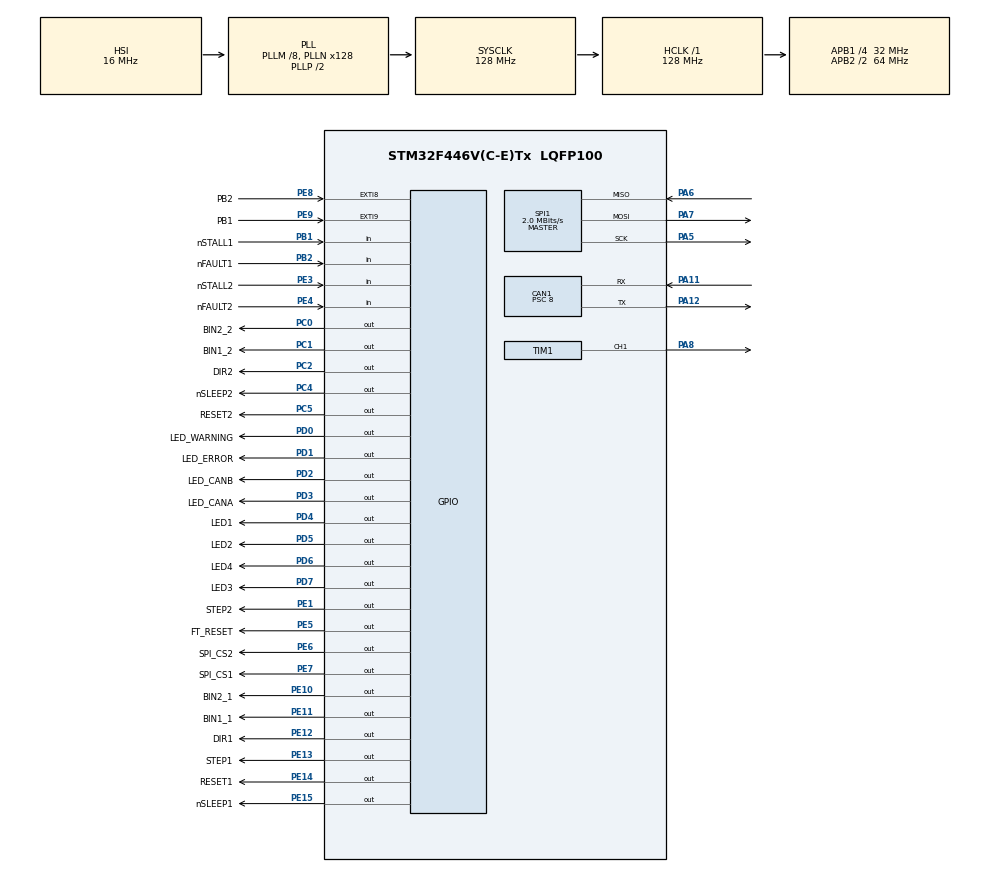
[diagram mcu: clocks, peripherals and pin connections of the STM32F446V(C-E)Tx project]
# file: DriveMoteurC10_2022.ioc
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CAN1.ABOM=DISABLE
CAN1.AWUM=DISABLE
CAN1.BS1=CAN_BS1_11TQ
CAN1.BS2=CAN_BS2_4TQ
CAN1.CalculateBaudRate=250000
CAN1.CalculateTimeBit=4000
CAN1.CalculateTimeQuantum=250.0
CAN1.Mode=CAN_MODE_NORMAL
CAN1.NART=DISABLE
CAN1.Prescaler=8
CAN1.SJW=CAN_SJW_3TQ
CAN1.TXFP=DISABLE
Mcu.Family=STM32F4
Mcu.Name=STM32F446V(C-E)Tx
Mcu.Package=LQFP100
NVIC.CAN1_RX0_IRQn=true\:1\:0\:true\:false\:true\:true\:true\:true
NVIC.CAN1_RX1_IRQn=true\:1\:0\:true\:false\:true\:true\:true\:true
NVIC.EXTI9_5_IRQn=true\:1\:0\:true\:false\:true\:true\:true\:true
NVIC.PriorityGroup=NVIC_PRIORITYGROUP_4
NVIC.TIM2_IRQn=true\:0\:0\:false\:false\:true\:true\:true\:true
NVIC.TIM3_IRQn=true\:0\:0\:false\:false\:true\:true\:true\:true
PA0-WKUP.Signal=EVENTOUT
PA11.Mode=CAN_Activate
PA11.Signal=CAN1_RX
PA12.Mode=CAN_Activate
PA12.Signal=CAN1_TX
PA13.Signal=SYS_JTMS-SWDIO
PA14.Signal=SYS_JTCK-SWCLK
PA5.Mode=Full_Duplex_Master
PA5.Signal=SPI1_SCK
PA6.GPIO_Mode=GPIO_MODE_AF_PP
PA6.GPIO_PuPd=GPIO_PULLUP
PA6.Mode=Full_Duplex_Master
PA6.Signal=SPI1_MISO
PA7.Mode=Full_Duplex_Master
PA7.Signal=SPI1_MOSI
PA8.Signal=S_TIM1_CH1
PB1.GPIO_Label=nSTALL1
PB1.GPIO_PuPd=GPIO_PULLUP
PB1.Signal=GPIO_Input
PB10.Signal=S_TIM2_CH3
PB2.GPIO_Label=nFAULT1
PB2.GPIO_PuPd=GPIO_PULLUP
PB2.Signal=GPIO_Input
PB3.Signal=SYS_JTDO-SWO
PC0.GPIO_Label=BIN2_2
PC0.Signal=GPIO_Output
PC1.GPIO_Label=BIN1_2
PC1.Signal=GPIO_Output
PC2.GPIO_Label=DIR2
PC2.Signal=GPIO_Output
PC4.GPIO_Label=nSLEEP2
PC4.Signal=GPIO_Output
PC5.GPIO_Label=RESET2
PC5.Signal=GPIO_Output
PD0.GPIO_Label=LED_WARNING
PD0.Signal=GPIO_Output
PD1.GPIO_Label=LED_ERROR
PD1.Signal=GPIO_Output
PD2.GPIO_Label=LED_CANB
PD2.Signal=GPIO_Output
PD3.GPIO_Label=LED_CANA
PD3.Signal=GPIO_Output
PD4.GPIO_Label=LED1
PD4.Signal=GPIO_Output
PD5.GPIO_Label=LED2
PD5.Signal=GPIO_Output
PD6.GPIO_Label=LED4
PD6.Signal=GPIO_Output
PD7.GPIO_Label=LED3
PD7.Signal=GPIO_Output
PE1.GPIO_Label=STEP2
PE1.Signal=GPIO_Output
PE10.GPIO_Label=BIN2_1
PE10.Signal=GPIO_Output
PE11.GPIO_Label=BIN1_1
PE11.Signal=GPIO_Output
PE12.GPIO_Label=DIR1
PE12.Signal=GPIO_Output
PE13.GPIO_Label=STEP1
PE13.Signal=GPIO_Output
PE14.GPIO_Label=RESET1
PE14.Signal=GPIO_Output
PE15.GPIO_Label=nSLEEP1
PE15.Signal=GPIO_Output
PE3.GPIO_Label=nSTALL2
PE3.Signal=GPIO_Input
PE4.GPIO_Label=nFAULT2
PE4.Signal=GPIO_Input
PE5.GPIO_Label=FT_RESET
PE5.Signal=GPIO_Output
PE6.GPIO_Label=SPI_CS2
PE6.GPIO_PuPd=GPIO_PULLDOWN
PE6.GPIO_Speed=GPIO_SPEED_FREQ_VERY_HIGH
PE6.Signal=GPIO_Output
PE7.GPIO_Label=SPI_CS1
PE7.GPIO_PuPd=GPIO_PULLDOWN
PE7.GPIO_Speed=GPIO_SPEED_FREQ_VERY_HIGH
PE7.Signal=GPIO_Output
PE8.GPIO_Label=PB2
PE8.GPIO_ModeDefaultEXTI=GPIO_MODE_IT_RISING_FALLING
PE8.Signal=GPXTI8
PE9.GPIO_Label=PB1
PE9.GPIO_ModeDefaultEXTI=GPIO_MODE_IT_RISING_FALLING
PE9.Signal=GPXTI9
ProjectManager.HeapSize=0x200
ProjectManager.StackSize=0x400
ProjectManager.TargetToolchain=STM32CubeIDE
RCC.AHBFreq_Value=128000000
RCC.APB1CLKDivider=RCC_HCLK_DIV4
RCC.APB1Freq_Value=32000000
RCC.APB1TimFreq_Value=64000000
RCC.APB2CLKDivider=RCC_HCLK_DIV2
RCC.APB2Freq_Value=64000000
RCC.APB2TimFreq_Value=128000000
RCC.CortexFreq_Value=128000000
RCC.HCLKFreq_Value=128000000
RCC.PLLM=8
RCC.PLLN=128
RCC.SYSCLKFreq_VALUE=128000000
RCC.SYSCLKSource=RCC_SYSCLKSOURCE_PLLCLK
RCC.USBFreq_Value=128000000
RCC.VCOOutputFreq_Value=256000000
SH.S_TIM1_CH1.0=TIM1_CH1,Output Compare1 CH1
SH.S_TIM2_CH3.0=TIM2_CH3
SPI1.BaudRatePrescaler=SPI_BAUDRATEPRESCALER_32
SPI1.CLKPhase=SPI_PHASE_1EDGE
SPI1.CLKPolarity=SPI_POLARITY_LOW
SPI1.CalculateBaudRate=2.0 MBits/s
SPI1.DataSize=SPI_DATASIZE_8BIT
SPI1.Direction=SPI_DIRECTION_2LINES
SPI1.Mode=SPI_MODE_MASTER
SPI1.VirtualType=VM_MASTER
TIM1.Channel-Output\ Compare1\ CH1=TIM_CHANNEL_1
TIM1.Prescaler=127
TIM2.Period=600
TIM2.Prescaler=63
TIM3.Period=999
TIM3.Prescaler=63
VP_TIM2_VS_ClockSourceINT.Mode=Internal
VP_TIM3_VS_ClockSourceINT.Mode=Internal
board=custom

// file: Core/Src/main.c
/* USER CODE BEGIN Header */
/**
 ******************************************************************************
 * @file           : main.c
 * @brief          : Main program body
 ******************************************************************************
 * @attention
 *
 * Copyright (c) 2022 STMicroelectronics.
 * All rights reserved.
 *
 * This software is licensed under terms that can be found in the LICENSE file
 * in the root directory of this software component.
 * If no LICENSE file comes with this software, it is provided AS-IS.
 *
 ******************************************************************************
 */
/* USER CODE END Header */
#include "main.h"

/* USER CODE BEGIN Includes */

#include "chinook_can_ids.h"
#include "state_machine.h"
#include "can.h"

/* USER CODE END Includes */

CAN_HandleTypeDef hcan1;

SPI_HandleTypeDef hspi1;

TIM_HandleTypeDef htim1;
TIM_HandleTypeDef htim2;
TIM_HandleTypeDef htim3;

void SystemClock_Config(void);
static void MX_GPIO_Init(void);
static void MX_CAN1_Init(void);
static void MX_SPI1_Init(void);
static void MX_TIM3_Init(void);
static void MX_TIM2_Init(void);
static void MX_TIM1_Init(void);

int main(void)
{

  /* MCU Configuration--------------------------------------------------------*/

  /* Reset of all peripherals, Initializes the Flash interface and the Systick. */
  HAL_Init();

  /* Configure the system clock */
  SystemClock_Config();

  /* Initialize all configured peripherals */
  MX_GPIO_Init();
  MX_CAN1_Init();
  MX_SPI1_Init();
  MX_TIM3_Init();
  MX_TIM2_Init();
  MX_TIM1_Init();

  /* Infinite loop */
  /* USER CODE BEGIN WHILE */
	while (1) {
		ExecuteStateMachine();
	}
    /* USER CODE END WHILE */

}

void SystemClock_Config(void)
{
  RCC_OscInitTypeDef RCC_OscInitStruct = {0};
  RCC_ClkInitTypeDef RCC_ClkInitStruct = {0};

  /** Configure the main internal regulator output voltage
  */
  __HAL_RCC_PWR_CLK_ENABLE();
  __HAL_PWR_VOLTAGESCALING_CONFIG(PWR_REGULATOR_VOLTAGE_SCALE2);

  /** Initializes the RCC Oscillators according to the specified parameters
  * in the RCC_OscInitTypeDef structure.
  */
  RCC_OscInitStruct.OscillatorType = RCC_OSCILLATORTYPE_HSI;
  RCC_OscInitStruct.HSIState = RCC_HSI_ON;
  RCC_OscInitStruct.HSICalibrationValue = RCC_HSICALIBRATION_DEFAULT;
  RCC_OscInitStruct.PLL.PLLState = RCC_PLL_ON;
  RCC_OscInitStruct.PLL.PLLSource = RCC_PLLSOURCE_HSI;
  RCC_OscInitStruct.PLL.PLLM = 8;
  RCC_OscInitStruct.PLL.PLLN = 128;
  RCC_OscInitStruct.PLL.PLLP = RCC_PLLP_DIV2;
  RCC_OscInitStruct.PLL.PLLQ = 2;
  RCC_OscInitStruct.PLL.PLLR = 2;
  if (HAL_RCC_OscConfig(&RCC_OscInitStruct) != HAL_OK)
  {
    Error_Handler();
  }

  /** Initializes the CPU, AHB and APB buses clocks
  */
  RCC_ClkInitStruct.ClockType = RCC_CLOCKTYPE_HCLK|RCC_CLOCKTYPE_SYSCLK
                              |RCC_CLOCKTYPE_PCLK1|RCC_CLOCKTYPE_PCLK2;
  RCC_ClkInitStruct.SYSCLKSource = RCC_SYSCLKSOURCE_PLLCLK;
  RCC_ClkInitStruct.AHBCLKDivider = RCC_SYSCLK_DIV1;
  RCC_ClkInitStruct.APB1CLKDivider = RCC_HCLK_DIV4;
  RCC_ClkInitStruct.APB2CLKDivider = RCC_HCLK_DIV2;

  if (HAL_RCC_ClockConfig(&RCC_ClkInitStruct, FLASH_LATENCY_4) != HAL_OK)
  {
    Error_Handler();
  }
}

static void MX_CAN1_Init(void)
{

  hcan1.Instance = CAN1;
  hcan1.Init.Prescaler = 8;
  hcan1.Init.Mode = CAN_MODE_NORMAL;
  hcan1.Init.SyncJumpWidth = CAN_SJW_3TQ;
  hcan1.Init.TimeSeg1 = CAN_BS1_11TQ;
  hcan1.Init.TimeSeg2 = CAN_BS2_4TQ;
  hcan1.Init.TimeTriggeredMode = DISABLE;
  hcan1.Init.AutoBusOff = DISABLE;
  hcan1.Init.AutoWakeUp = DISABLE;
  hcan1.Init.AutoRetransmission = DISABLE;
  hcan1.Init.ReceiveFifoLocked = DISABLE;
  hcan1.Init.TransmitFifoPriority = DISABLE;
  if (HAL_CAN_Init(&hcan1) != HAL_OK)
  {
    Error_Handler();
  }
  /* USER CODE BEGIN CAN1_Init 2 */

	CAN_FilterTypeDef sf_fifo0;
	// All common bits go into the ID register
	sf_fifo0.FilterIdHigh = DRIVEMOTOR_FIFO0_RX_FILTER_ID_HIGH;
	sf_fifo0.FilterIdLow = DRIVEMOTOR_FIFO0_RX_FILTER_ID_LOW;

	// Which bits to compare for filter
	sf_fifo0.FilterMaskIdHigh = 0x0000;
	sf_fifo0.FilterMaskIdLow = (FIFO0_RX_FILTER_MASK_LOW & 0x07FF);

	sf_fifo0.FilterFIFOAssignment = CAN_FILTER_FIFO0;
	sf_fifo0.FilterBank = 0; // Which filter to use from the assigned ones
	sf_fifo0.FilterMode = CAN_FILTERMODE_IDMASK;
	sf_fifo0.FilterScale = CAN_FILTERSCALE_32BIT;
	sf_fifo0.FilterActivation = CAN_FILTER_ENABLE;
	sf_fifo0.SlaveStartFilterBank = 14; // How many filters to assign to CAN1
	if (HAL_CAN_ConfigFilter(&hcan1, &sf_fifo0) != HAL_OK)
	{
	  Error_Handler();
	}

	CAN_FilterTypeDef sf_fifo1;
	// All common bits go into the ID register
	//sf_fifo1.FilterIdHigh = 0x0000;
	//sf_fifo1.FilterIdLow = 0x0000;
	//sf_fifo1.FilterMaskIdHigh = 0x0000;
	//sf_fifo1.FilterMaskIdLow = 0x0000;
	sf_fifo1.FilterIdHigh = DRIVEMOTOR_FIFO1_RX_FILTER_ID_HIGH;
	sf_fifo1.FilterIdLow = DRIVEMOTOR_FIFO1_RX_FILTER_ID_LOW;

	// Which bits to compare for filter
	sf_fifo1.FilterMaskIdHigh = 0x0000;
	sf_fifo1.FilterMaskIdLow = (FIFO1_RX_FILTER_MASK_LOW & 0x7FF);

	sf_fifo1.FilterFIFOAssignment = CAN_FILTER_FIFO1;
	sf_fifo1.FilterBank = 1; // Which filter to use from the assigned ones
	sf_fifo1.FilterMode = CAN_FILTERMODE_IDMASK;
	sf_fifo1.FilterScale = CAN_FILTERSCALE_32BIT;
	sf_fifo1.FilterActivation = CAN_FILTER_ENABLE;
	sf_fifo1.SlaveStartFilterBank = 14; // How many filters to assign to CAN1
	if (HAL_CAN_ConfigFilter(&hcan1, &sf_fifo1) != HAL_OK)
	{
	  Error_Handler();
	}

	//if (HAL_CAN_RegisterCallback(&hcan1, HAL_CAN_RX_FIFO0_MSG_PENDING_CB_ID, can_irq))
	//{
	//	  Error_Handler();
	//}
	if (HAL_CAN_Start(&hcan1) != HAL_OK)
	{
		Error_Handler();
	}
	if (HAL_CAN_ActivateNotification(&hcan1, CAN_IT_RX_FIFO0_MSG_PENDING | CAN_IT_RX_FIFO1_MSG_PENDING) != HAL_OK)
	{
		Error_Handler();
	}
	/*
	if (HAL_CAN_ActivateNotification(&hcan1,
			(CAN_IT_RX_FIFO0_MSG_PENDING | CAN_IT_RX_FIFO1_MSG_PENDING | CAN_IT_RX_FIFO0_FULL | CAN_IT_RX_FIFO0_OVERRUN |
			 CAN_IT_RX_FIFO1_FULL | CAN_IT_RX_FIFO1_OVERRUN)) != HAL_OK)
	{
		Error_Handler();
	}
	*/

  /* USER CODE END CAN1_Init 2 */

}

static void MX_SPI1_Init(void)
{

  /* SPI1 parameter configuration*/
  hspi1.Instance = SPI1;
  hspi1.Init.Mode = SPI_MODE_MASTER;
  hspi1.Init.Direction = SPI_DIRECTION_2LINES;
  hspi1.Init.DataSize = SPI_DATASIZE_8BIT;
  hspi1.Init.CLKPolarity = SPI_POLARITY_LOW;
  hspi1.Init.CLKPhase = SPI_PHASE_1EDGE;
  hspi1.Init.NSS = SPI_NSS_SOFT;
  hspi1.Init.BaudRatePrescaler = SPI_BAUDRATEPRESCALER_32;
  hspi1.Init.FirstBit = SPI_FIRSTBIT_MSB;
  hspi1.Init.TIMode = SPI_TIMODE_DISABLE;
  hspi1.Init.CRCCalculation = SPI_CRCCALCULATION_DISABLE;
  hspi1.Init.CRCPolynomial = 10;
  if (HAL_SPI_Init(&hspi1) != HAL_OK)
  {
    Error_Handler();
  }

}

static void MX_TIM1_Init(void)
{

  TIM_MasterConfigTypeDef sMasterConfig = {0};
  TIM_OC_InitTypeDef sConfigOC = {0};
  TIM_BreakDeadTimeConfigTypeDef sBreakDeadTimeConfig = {0};

  htim1.Instance = TIM1;
  htim1.Init.Prescaler = 127;
  htim1.Init.CounterMode = TIM_COUNTERMODE_UP;
  htim1.Init.Period = 65535;
  htim1.Init.ClockDivision = TIM_CLOCKDIVISION_DIV1;
  htim1.Init.RepetitionCounter = 0;
  htim1.Init.AutoReloadPreload = TIM_AUTORELOAD_PRELOAD_DISABLE;
  if (HAL_TIM_OC_Init(&htim1) != HAL_OK)
  {
    Error_Handler();
  }
  sMasterConfig.MasterOutputTrigger = TIM_TRGO_RESET;
  sMasterConfig.MasterSlaveMode = TIM_MASTERSLAVEMODE_DISABLE;
  if (HAL_TIMEx_MasterConfigSynchronization(&htim1, &sMasterConfig) != HAL_OK)
  {
    Error_Handler();
  }
  sConfigOC.OCMode = TIM_OCMODE_TIMING;
  sConfigOC.Pulse = 0;
  sConfigOC.OCPolarity = TIM_OCPOLARITY_HIGH;
  sConfigOC.OCNPolarity = TIM_OCNPOLARITY_HIGH;
  sConfigOC.OCFastMode = TIM_OCFAST_DISABLE;
  sConfigOC.OCIdleState = TIM_OCIDLESTATE_RESET;
  sConfigOC.OCNIdleState = TIM_OCNIDLESTATE_RESET;
  if (HAL_TIM_OC_ConfigChannel(&htim1, &sConfigOC, TIM_CHANNEL_1) != HAL_OK)
  {
    Error_Handler();
  }
  sBreakDeadTimeConfig.OffStateRunMode = TIM_OSSR_DISABLE;
  sBreakDeadTimeConfig.OffStateIDLEMode = TIM_OSSI_DISABLE;
  sBreakDeadTimeConfig.LockLevel = TIM_LOCKLEVEL_OFF;
  sBreakDeadTimeConfig.DeadTime = 0;
  sBreakDeadTimeConfig.BreakState = TIM_BREAK_DISABLE;
  sBreakDeadTimeConfig.BreakPolarity = TIM_BREAKPOLARITY_HIGH;
  sBreakDeadTimeConfig.AutomaticOutput = TIM_AUTOMATICOUTPUT_DISABLE;
  if (HAL_TIMEx_ConfigBreakDeadTime(&htim1, &sBreakDeadTimeConfig) != HAL_OK)
  {
    Error_Handler();
  }
  HAL_TIM_MspPostInit(&htim1);

}

static void MX_TIM2_Init(void)
{

  TIM_ClockConfigTypeDef sClockSourceConfig = {0};
  TIM_MasterConfigTypeDef sMasterConfig = {0};

  htim2.Instance = TIM2;
  htim2.Init.Prescaler = 63;
  htim2.Init.CounterMode = TIM_COUNTERMODE_UP;
  htim2.Init.Period = 600;
  htim2.Init.ClockDivision = TIM_CLOCKDIVISION_DIV1;
  htim2.Init.AutoReloadPreload = TIM_AUTORELOAD_PRELOAD_DISABLE;
  if (HAL_TIM_Base_Init(&htim2) != HAL_OK)
  {
    Error_Handler();
  }
  sClockSourceConfig.ClockSource = TIM_CLOCKSOURCE_INTERNAL;
  if (HAL_TIM_ConfigClockSource(&htim2, &sClockSourceConfig) != HAL_OK)
  {
    Error_Handler();
  }
  sMasterConfig.MasterOutputTrigger = TIM_TRGO_RESET;
  sMasterConfig.MasterSlaveMode = TIM_MASTERSLAVEMODE_DISABLE;
  if (HAL_TIMEx_MasterConfigSynchronization(&htim2, &sMasterConfig) != HAL_OK)
  {
    Error_Handler();
  }
  /* USER CODE BEGIN TIM2_Init 2 */

  HAL_TIM_Base_Start_IT(&htim2);

  /* USER CODE END TIM2_Init 2 */

}

static void MX_TIM3_Init(void)
{

  TIM_ClockConfigTypeDef sClockSourceConfig = {0};
  TIM_MasterConfigTypeDef sMasterConfig = {0};

  htim3.Instance = TIM3;
  htim3.Init.Prescaler = 63;
  htim3.Init.CounterMode = TIM_COUNTERMODE_UP;
  htim3.Init.Period = 999;
  htim3.Init.ClockDivision = TIM_CLOCKDIVISION_DIV1;
  htim3.Init.AutoReloadPreload = TIM_AUTORELOAD_PRELOAD_DISABLE;
  if (HAL_TIM_Base_Init(&htim3) != HAL_OK)
  {
    Error_Handler();
  }
  sClockSourceConfig.ClockSource = TIM_CLOCKSOURCE_INTERNAL;
  if (HAL_TIM_ConfigClockSource(&htim3, &sClockSourceConfig) != HAL_OK)
  {
    Error_Handler();
  }
  sMasterConfig.MasterOutputTrigger = TIM_TRGO_RESET;
  sMasterConfig.MasterSlaveMode = TIM_MASTERSLAVEMODE_DISABLE;
  if (HAL_TIMEx_MasterConfigSynchronization(&htim3, &sMasterConfig) != HAL_OK)
  {
    Error_Handler();
  }
  /* USER CODE BEGIN TIM3_Init 2 */

	HAL_TIM_Base_Start_IT(&htim3);

  /* USER CODE END TIM3_Init 2 */

}

static void MX_GPIO_Init(void)
{
  GPIO_InitTypeDef GPIO_InitStruct = {0};

  /* GPIO Ports Clock Enable */
  __HAL_RCC_GPIOE_CLK_ENABLE();
  __HAL_RCC_GPIOC_CLK_ENABLE();
  __HAL_RCC_GPIOA_CLK_ENABLE();
  __HAL_RCC_GPIOB_CLK_ENABLE();
  __HAL_RCC_GPIOD_CLK_ENABLE();

  /*Configure GPIO pin Output Level */
  HAL_GPIO_WritePin(GPIOE, FT_RESET_Pin|SPI_CS2_Pin|SPI_CS1_Pin|BIN2_1_Pin
                          |BIN1_1_Pin|DIR1_Pin|STEP1_Pin|RESET1_Pin
                          |nSLEEP1_Pin|STEP2_Pin, GPIO_PIN_RESET);

  /*Configure GPIO pin Output Level */
  HAL_GPIO_WritePin(GPIOC, BIN2_2_Pin|BIN1_2_Pin|DIR2_Pin|nSLEEP2_Pin
                          |RESET2_Pin, GPIO_PIN_RESET);

  /*Configure GPIO pin Output Level */
  HAL_GPIO_WritePin(GPIOD, LED_WARNING_Pin|LED_ERROR_Pin|LED_CANB_Pin|LED_CANA_Pin
                          |LED1_Pin|LED2_Pin|LED4_Pin|LED3_Pin, GPIO_PIN_RESET);

  /*Configure GPIO pins : nSTALL2_Pin nFAULT2_Pin */
  GPIO_InitStruct.Pin = nSTALL2_Pin|nFAULT2_Pin;
  GPIO_InitStruct.Mode = GPIO_MODE_INPUT;
  GPIO_InitStruct.Pull = GPIO_NOPULL;
  HAL_GPIO_Init(GPIOE, &GPIO_InitStruct);

  /*Configure GPIO pins : FT_RESET_Pin BIN2_1_Pin BIN1_1_Pin DIR1_Pin
                           STEP1_Pin RESET1_Pin nSLEEP1_Pin STEP2_Pin */
  GPIO_InitStruct.Pin = FT_RESET_Pin|BIN2_1_Pin|BIN1_1_Pin|DIR1_Pin
                          |STEP1_Pin|RESET1_Pin|nSLEEP1_Pin|STEP2_Pin;
  GPIO_InitStruct.Mode = GPIO_MODE_OUTPUT_PP;
  GPIO_InitStruct.Pull = GPIO_NOPULL;
  GPIO_InitStruct.Speed = GPIO_SPEED_FREQ_LOW;
  HAL_GPIO_Init(GPIOE, &GPIO_InitStruct);

  /*Configure GPIO pins : SPI_CS2_Pin SPI_CS1_Pin */
  GPIO_InitStruct.Pin = SPI_CS2_Pin|SPI_CS1_Pin;
  GPIO_InitStruct.Mode = GPIO_MODE_OUTPUT_PP;
  GPIO_InitStruct.Pull = GPIO_PULLDOWN;
  GPIO_InitStruct.Speed = GPIO_SPEED_FREQ_VERY_HIGH;
  HAL_GPIO_Init(GPIOE, &GPIO_InitStruct);

  /*Configure GPIO pins : BIN2_2_Pin BIN1_2_Pin DIR2_Pin nSLEEP2_Pin
                           RESET2_Pin */
  GPIO_InitStruct.Pin = BIN2_2_Pin|BIN1_2_Pin|DIR2_Pin|nSLEEP2_Pin
                          |RESET2_Pin;
  GPIO_InitStruct.Mode = GPIO_MODE_OUTPUT_PP;
  GPIO_InitStruct.Pull = GPIO_NOPULL;
  GPIO_InitStruct.Speed = GPIO_SPEED_FREQ_LOW;
  HAL_GPIO_Init(GPIOC, &GPIO_InitStruct);

  /*Configure GPIO pin : PA0 */
  GPIO_InitStruct.Pin = GPIO_PIN_0;
  GPIO_InitStruct.Mode = GPIO_MODE_AF_PP;
  GPIO_InitStruct.Pull = GPIO_NOPULL;
  GPIO_InitStruct.Speed = GPIO_SPEED_FREQ_LOW;
  GPIO_InitStruct.Alternate = GPIO_AF15_EVENTOUT;
  HAL_GPIO_Init(GPIOA, &GPIO_InitStruct);

  /*Configure GPIO pins : nSTALL1_Pin nFAULT1_Pin */
  GPIO_InitStruct.Pin = nSTALL1_Pin|nFAULT1_Pin;
  GPIO_InitStruct.Mode = GPIO_MODE_INPUT;
  GPIO_InitStruct.Pull = GPIO_PULLUP;
  HAL_GPIO_Init(GPIOB, &GPIO_InitStruct);

  /*Configure GPIO pins : PB2_Pin PB1_Pin */
  GPIO_InitStruct.Pin = PB2_Pin|PB1_Pin;
  GPIO_InitStruct.Mode = GPIO_MODE_IT_RISING_FALLING;
  GPIO_InitStruct.Pull = GPIO_NOPULL;
  HAL_GPIO_Init(GPIOE, &GPIO_InitStruct);

  /*Configure GPIO pins : LED_WARNING_Pin LED_ERROR_Pin LED_CANB_Pin LED_CANA_Pin
                           LED1_Pin LED2_Pin LED4_Pin LED3_Pin */
  GPIO_InitStruct.Pin = LED_WARNING_Pin|LED_ERROR_Pin|LED_CANB_Pin|LED_CANA_Pin
                          |LED1_Pin|LED2_Pin|LED4_Pin|LED3_Pin;
  GPIO_InitStruct.Mode = GPIO_MODE_OUTPUT_PP;
  GPIO_InitStruct.Pull = GPIO_NOPULL;
  GPIO_InitStruct.Speed = GPIO_SPEED_FREQ_LOW;
  HAL_GPIO_Init(GPIOD, &GPIO_InitStruct);

  /* EXTI interrupt init*/
  HAL_NVIC_SetPriority(EXTI9_5_IRQn, 1, 0);
  HAL_NVIC_EnableIRQ(EXTI9_5_IRQn);

}

/* USER CODE BEGIN 4 */

CAN_TxHeaderTypeDef pTxHeader;
CAN_RxHeaderTypeDef pRxHeader;

//uint8_t txData[8];
uint8_t rxData[8];

void CAN_ReceiveFifoCallback(CAN_HandleTypeDef* hcan, uint32_t fifo)
{

	uint32_t num_messages = HAL_CAN_GetRxFifoFillLevel(hcan, fifo);
	for (int i = 0; i < num_messages; ++i)
	{
		if (HAL_CAN_GetRxMessage(hcan, fifo, &pRxHeader, rxData) != HAL_OK)
		{
			Error_Handler();
		}

		ProcessCanMessage();
	}
}

void HAL_CAN_RxFifo0MsgPendingCallback(CAN_HandleTypeDef* hcan)
{
	//HAL_GPIO_TogglePin(LED_CANB_GPIO_Port, LED_CANB_Pin);
	CAN_ReceiveFifoCallback(hcan, CAN_RX_FIFO0);
}

void HAL_CAN_RxFifo1MsgPendingCallback(CAN_HandleTypeDef* hcan)
{
	//HAL_GPIO_TogglePin(LED_CANB_GPIO_Port, LED_CANB_Pin);
	CAN_ReceiveFifoCallback(hcan, CAN_RX_FIFO1);
}

// CAN error callbacks
void HAL_CAN_RxFifo0FullCallback(CAN_HandleTypeDef* hcan)
{
	// TODO: (Marc) Error detection/handling
	//HAL_GPIO_TogglePin(LED_CANB_GPIO_Port, LED_CANB_Pin);
}

void HAL_CAN_RxFifo1FullCallback(CAN_HandleTypeDef* hcan)
{
	// TODO: (Marc) Error detection/handling
	//HAL_GPIO_TogglePin(LED_CANB_GPIO_Port, LED_CANB_Pin);
}

void HAL_CAN_ErrorCallback(CAN_HandleTypeDef* hcan)
{
	// TODO: (Marc) Error detection/handling
	//HAL_GPIO_TogglePin(LED_CANB_GPIO_Port, LED_CANB_Pin);
}

/* USER CODE END 4 */

void Error_Handler(void)
{
	__disable_irq();
	while (1) {
	}
}
